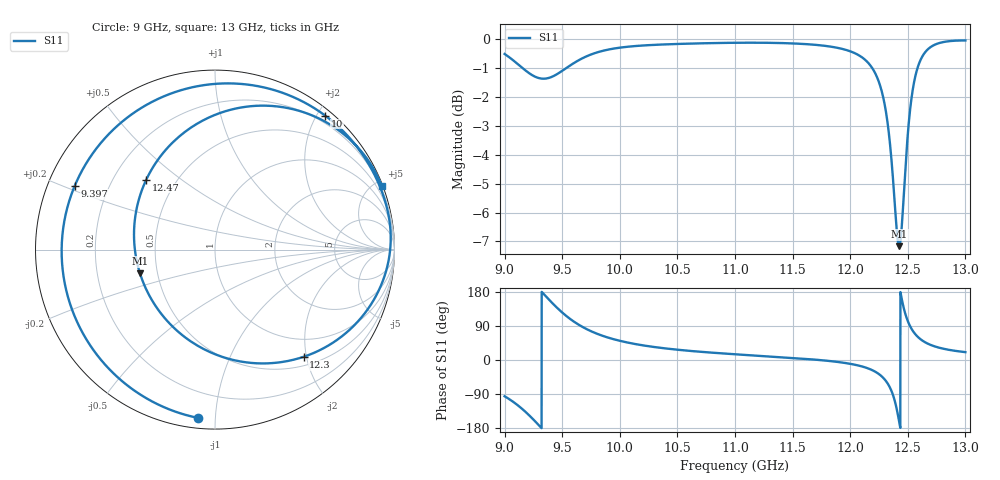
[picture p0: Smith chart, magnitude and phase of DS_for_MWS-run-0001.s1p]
! TOUCHSTONE file generated by CST DESIGN STUDIO
! Date and time: Tue Feb  4 16:06:11 2025
! Project name: C:\Work\MatlabApps\UnitCellOptimizationMatlab\CST\unitcell.cst
! Tree item: Tasks\Sweep1\SPara1\S-Parameters
! Header version: 2024
! Port assignment regex: !\s*Touchstone port\s*([0-9]+)\s*=\s*(CST MWS port|CST DES external port|CST DES block port)\s*(.+)\s* \(\"(.*)\"\)(\s*mode\s*([0-9]+))?.*
! Touchstone port assignment:
! Touchstone port 1 = CST DES external port 1 ("")
# GHz S MA R 50
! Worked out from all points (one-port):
!   4001 points, 9 GHz to 13 GHz, reference 50 ohm
!   lowest |S11| = -7.2 dB at 12.43 GHz (marker M1), VSWR 2.56, Z = 19.9 - j6.51 ohm
!   |S11| at or under -10 dB: nowhere
!   S11 on the Smith chart (normalised r, x): 9 GHz: 0.05, -0.90; 9.397 GHz: 0.08, +0.22; 10 GHz: 0.09, +2.12; 12.3 GHz: 0.65, -1.95; 12.47 GHz: 0.34, +0.38; 13 GHz: 0.08, +5.46
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9  0.9425 -95.7
9.126  0.9012 -122.4
9.246  0.8648 -155.9
9.322  0.8544 179.8
9.397  0.8585 155.5
9.5  0.8813 125.3
9.583  0.9041 105.2
9.679  0.9273 86.8
9.828  0.9516 66.3
10  0.9665 50.7
10.002  0.9666 50.5
10.5  0.9808 27.2
11  0.9855 15.1
11.5  0.9829 5.4
12  0.9526 -10.1
12.187  0.8936 -26.2
12.297  0.7749 -50.4
12.338  0.6808 -68.6
12.369  0.582 -90.2
12.396  0.4897 -118.7
12.425  0.4384 -162.5
12.467  0.5462 134.5
12.5  0.6848 102.7
12.534  0.7952 81.5
12.578  0.8824 63.7
12.664  0.9558 44.5
12.792  0.9867 30.9
13  0.9946 20.8
